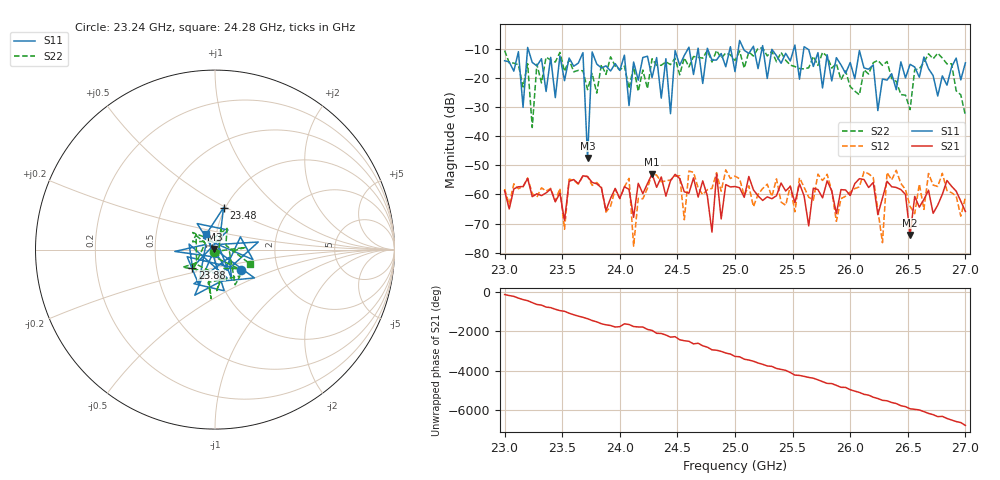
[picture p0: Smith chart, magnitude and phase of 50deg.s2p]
#  HZ  S  RI  R  50.00
! Rohde & Schwarz ZVA40 4Ports - Version 3.90 - 1145.1110k42 SN: 100403
! Date: 2023-09-26 11:02:50
! Measurements: S11 S21 S12 S22
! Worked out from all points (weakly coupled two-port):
!   101 points, 23 GHz to 27 GHz, reference 50 ohm
!   highest |S21| = -53.00 dB at 24.28 GHz (marker M1); lowest = -73.9 dB at 26.52 GHz (marker M2)
!   lowest |S11| = -47.5 dB at 23.72 GHz (marker M3), VSWR 1.01, Z = 49.7 + j0.312 ohm
!   |S11| at or under -10 dB: 23.2 GHz to 24.59 GHz (1.389 GHz wide, 5.81 % of centre); 25.24 GHz to 25.51 GHz (267.2 MHz wide, 1.05 % of centre); 25.63 GHz to end of sweep (the widest 3 of 11)
!   |S22| runs from -37.0 to -9.7 dB; largest |S21 - S12| = 0.0022
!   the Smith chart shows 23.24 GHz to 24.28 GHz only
!   S11 on the Smith chart (normalised r, x): 23.24 GHz: 1.30, -0.30; 23.48 GHz: 0.98, +0.49; 23.88 GHz: 0.76, -0.16; 24.28 GHz: 0.90, +0.16
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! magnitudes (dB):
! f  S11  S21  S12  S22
! 23 GHz  -14.1  -58.8  -58.2  -10.6
! 23.16 GHz  -30.1  -57.3  -57.4  -23.1
! 23.2 GHz  -9.6  -54.5  -54.4  -15.2
! 23.24 GHz  -14.7  -60.8  -59.7  -37.0
! 23.28 GHz  -15.9  -59.8  -61.0  -15.3
! 23.48 GHz  -12.4  -59.5  -57.9  -11.3
! 23.68 GHz  -11.4  -53.6  -53.7  -17.6
! 23.72 GHz  -47.5  -53.9  -53.8  -24.0
! 23.76 GHz  -11.1  -55.9  -56.9  -18.5
! 23.88 GHz  -15.9  -65.5  -66.1  -18.8
! 24.08 GHz  -29.5  -58.3  -54.5  -23.7
! 24.12 GHz  -14.6  -67.9  -77.8  -16.1
! 24.28 GHz  -19.9  -53.0  -52.6  -13.4
! 24.36 GHz  -27.0  -54.0  -55.7  -15.7
! 25 GHz  -17.9  -57.3  -53.7  -14.1
! 25.68 GHz  -16.1  -57.8  -62.0  -12.6
! 26.16 GHz  -17.0  -57.6  -52.9  -18.7
! 26.28 GHz  -20.4  -61.3  -76.6  -15.7
! 26.36 GHz  -18.6  -57.4  -55.0  -20.2
! 26.52 GHz  -15.4  -73.9  -64.1  -30.9
! 26.76 GHz  -26.3  -63.7  -57.3  -11.5
! 27 GHz  -14.9  -65.8  -61.0  -32.9
